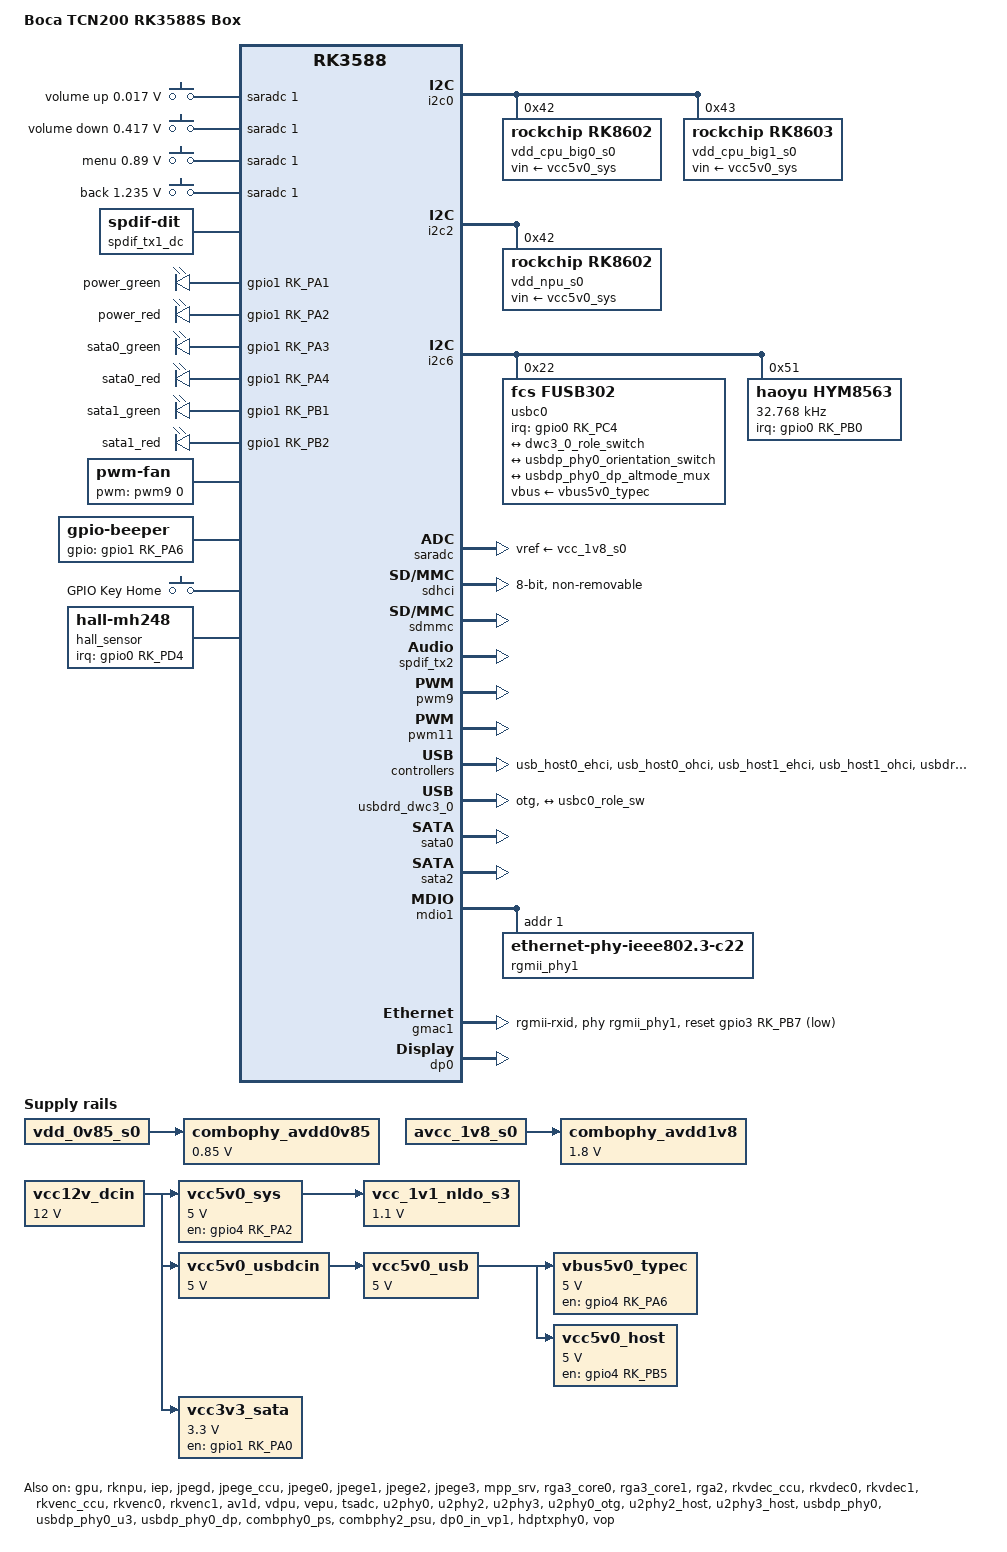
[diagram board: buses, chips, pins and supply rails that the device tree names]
// SPDX-License-Identifier: (GPL-2.0+ OR MIT)

/dts-v1/;

#include <dt-bindings/gpio/gpio.h>
#include <dt-bindings/input/input.h>
#include <dt-bindings/interrupt-controller/irq.h>
#include <dt-bindings/pinctrl/rockchip.h>
#include <dt-bindings/pwm/pwm.h>
#include "rk3588s.dtsi"
#include "rk3588-rk806-single.dtsi"
#include "rk3588-linux.dtsi"

/ {
	model = "Boca TCN200 RK3588S Box";
	compatible = "boca,tcn200", "tcn,tcn200", "rockchip,rk3588s", "rockchip,rk3588";

	aliases {
		/delete-property/ serial8;
		mmc0 = &sdhci;
		serial2 = &uart2;
	};

	chosen {
		/delete-property/ bootargs;
	};

	adc_keys: adc-keys {
		compatible = "adc-keys";
		io-channels = <&saradc 1>;
		io-channel-names = "buttons";
		keyup-threshold-microvolt = <1800000>;
		poll-interval = <100>;

		vol-up-key {
			label = "volume up";
			linux,code = <KEY_VOLUMEUP>;
			press-threshold-microvolt = <17000>;
		};

		vol-down-key {
			label = "volume down";
			linux,code = <KEY_VOLUMEDOWN>;
			press-threshold-microvolt = <417000>;
		};

		menu-key {
			label = "menu";
			linux,code = <KEY_MENU>;
			press-threshold-microvolt = <890000>;
		};

		back-key {
			label = "back";
			linux,code = <KEY_BACK>;
			press-threshold-microvolt = <1235000>;
		};
	};

	dp0_sound: dp0-sound {
		status = "okay";
		compatible = "rockchip,hdmi";
		rockchip,card-name = "rockchip,dp0";
		rockchip,mclk-fs = <512>;
		rockchip,cpu = <&spdif_tx2>;
		rockchip,codec = <&dp0 1>;
		rockchip,jack-det;
	};

	hdmi0_sound: hdmi0-sound {
		status = "disabled";
		compatible = "rockchip,hdmi";
		rockchip,mclk-fs = <128>;
		rockchip,card-name = "rockchip-hdmi0";
		rockchip,cpu = <&i2s5_8ch>;
		rockchip,codec = <&hdmi0>;
		rockchip,jack-det;
	};

	spdif_tx1_dc: spdif-tx1-dc {
		status = "okay";
		compatible = "linux,spdif-dit";
		#sound-dai-cells = <0>;
	};

	spdif_tx1_sound: spdif-tx1-sound {
		status = "disabled";
		compatible = "simple-audio-card";
		simple-audio-card,name = "rockchip,spdif-tx1";
		simple-audio-card,mclk-fs = <128>;
		simple-audio-card,cpu {
			sound-dai = <&spdif_tx1>;
		};
		simple-audio-card,codec {
			sound-dai = <&spdif_tx1_dc>;
		};
	};

	test-power {
		status = "okay";
	};

	vcc12v_dcin: vcc12v-dcin {
		compatible = "regulator-fixed";
		regulator-name = "vcc12v_dcin";
		regulator-always-on;
		regulator-boot-on;
		regulator-min-microvolt = <12000000>;
		regulator-max-microvolt = <12000000>;
	};

	vcc5v0_sys: vcc5v0-sys {
		compatible = "regulator-fixed";
		regulator-name = "vcc5v0_sys";
		regulator-always-on;
		regulator-boot-on;
		enable-active-high;
		gpio = <&gpio4 RK_PA2 GPIO_ACTIVE_HIGH>;
		regulator-min-microvolt = <5000000>;
		regulator-max-microvolt = <5000000>;
		vin-supply = <&vcc12v_dcin>;
	};

	vcc5v0_usbdcin: vcc5v0-usbdcin {
		compatible = "regulator-fixed";
		regulator-name = "vcc5v0_usbdcin";
		regulator-always-on;
		regulator-boot-on;
		regulator-min-microvolt = <5000000>;
		regulator-max-microvolt = <5000000>;
		vin-supply = <&vcc12v_dcin>;
	};

	vcc5v0_usb: vcc5v0-usb {
		compatible = "regulator-fixed";
		regulator-name = "vcc5v0_usb";
		regulator-always-on;
		regulator-boot-on;
		regulator-min-microvolt = <5000000>;
		regulator-max-microvolt = <5000000>;
		vin-supply = <&vcc5v0_usbdcin>;
	};

	vcc_1v1_nldo_s3: vcc-1v1-nldo-s3 {
		compatible = "regulator-fixed";
		regulator-name = "vcc_1v1_nldo_s3";
		regulator-always-on;
		regulator-boot-on;
		regulator-min-microvolt = <1100000>;
		regulator-max-microvolt = <1100000>;
		vin-supply = <&vcc5v0_sys>;
	};

	combophy_avdd0v85: combophy-avdd0v85 {
		compatible = "regulator-fixed";
		regulator-name = "combophy_avdd0v85";
		regulator-boot-on;
		regulator-always-on;
		regulator-min-microvolt = <850000>;
		regulator-max-microvolt = <850000>;
		vin-supply = <&vdd_0v85_s0>;
	};

	combophy_avdd1v8: combophy-avdd1v8 {
		compatible = "regulator-fixed";
		regulator-name = "combophy_avdd1v8";
		regulator-boot-on;
		regulator-always-on;
		regulator-min-microvolt = <1800000>;
		regulator-max-microvolt = <1800000>;
		vin-supply = <&avcc_1v8_s0>;
	};

	es7202_sound_micarray: es7202-sound-micarray {
		status = "disabled";
		compatible = "simple-audio-card";
		simple-audio-card,format = "i2s";
		simple-audio-card,name = "rockchip,sound-micarray";
		simple-audio-card,mclk-fs = <256>;
		simple-audio-card,dai-link@0 {
			format = "pdm";
			cpu {
				sound-dai = <&pdm0>;
			};
			codec {
				sound-dai = <&es7202>;
			};
		};
	};

	es8388_sound: es8388-sound {
		status = "disabled";
		compatible = "rockchip,multicodecs-card";
		rockchip,card-name = "rockchip-es8388";
		hp-det-gpio = <&gpio1 RK_PD0 GPIO_ACTIVE_LOW>;
		io-channels = <&saradc 3>;
		io-channel-names = "adc-detect";
		keyup-threshold-microvolt = <1800000>;
		poll-interval = <100>;
		spk-con-gpio = <&gpio4 RK_PA5 GPIO_ACTIVE_HIGH>;
		hp-con-gpio = <&gpio4 RK_PA4 GPIO_ACTIVE_HIGH>;
		rockchip,format = "i2s";
		rockchip,mclk-fs = <256>;
		rockchip,cpu = <&i2s0_8ch>;
		rockchip,codec = <&es8388>;
		rockchip,audio-routing =
			"Headphone", "LOUT1",
			"Headphone", "ROUT1",
			"Speaker", "LOUT2",
			"Speaker", "ROUT2",
			"Headphone", "Headphone Power",
			"Headphone", "Headphone Power",
			"Speaker", "Speaker Power",
			"Speaker", "Speaker Power",
			"LINPUT1", "Main Mic",
			"LINPUT2", "Main Mic",
			"RINPUT1", "Headset Mic",
			"RINPUT2", "Headset Mic";
		pinctrl-names = "default";
		pinctrl-0 = <&hp_det>;

		play-pause-key {
			label = "playpause";
			linux,code = <KEY_PLAYPAUSE>;
			press-threshold-microvolt = <2000>;
		};
	};

	leds: leds {
		compatible = "gpio-leds";

		power_green {
			gpios = <&gpio1 RK_PA1 GPIO_ACTIVE_HIGH>;
			default-state = "on";
		};

		power_red {
			gpios = <&gpio1 RK_PA2 GPIO_ACTIVE_HIGH>;
		};

		sata0_green {
			gpios = <&gpio1 RK_PA3 GPIO_ACTIVE_HIGH>;
		};

		sata0_red {
			gpios = <&gpio1 RK_PA4 GPIO_ACTIVE_HIGH>;
		};

		sata1_green {
			gpios = <&gpio1 RK_PB1 GPIO_ACTIVE_HIGH>;
		};

		sata1_red {
			gpios = <&gpio1 RK_PB2 GPIO_ACTIVE_HIGH>;
		};
	};

	fan: pwm-fan {
		compatible = "pwm-fan";
		#cooling-cells = <2>;
		cooling-levels = <0 90 160 200 255>;
		pwms = <&pwm9 0 50000 0>;
		rockchip,temp-trips = <
			50000 1
			60000 2
			70000 3
			80000 4
		>;
	};

	beep: beep {
		compatible = "gpio-beeper";
		gpios = <&gpio1 RK_PA6 GPIO_ACTIVE_HIGH>;
	};

	gpio_keys: gpio-keys {
		status = "okay";
		compatible = "gpio-keys";

		back {
			label = "GPIO Key Home";
			debounce-interval = <10>;
			interrupt-parent = <&gpio1>;
			interrupts = <RK_PB0 IRQ_TYPE_LEVEL_LOW>;
			linux,input-type = <1>;
			linux,code = <KEY_BACK>;
		};
	};

	hall_sensor: hall-mh248 {
		compatible = "hall-mh248";
		pinctrl-names = "default";
		pinctrl-0 = <&mh248_irq_gpio>;
		irq-gpio = <&gpio0 RK_PD4 IRQ_TYPE_EDGE_BOTH>;
		hall-active = <1>;
		status = "okay";
	};

	vbus5v0_typec: vbus5v0-typec {
		compatible = "regulator-fixed";
		regulator-name = "vbus5v0_typec";
		regulator-min-microvolt = <5000000>;
		regulator-max-microvolt = <5000000>;
		enable-active-high;
		gpio = <&gpio4 RK_PA6 GPIO_ACTIVE_HIGH>;
		vin-supply = <&vcc5v0_usb>;
		pinctrl-names = "default";
		pinctrl-0 = <&typec5v_pwren>;
	};

	vcc3v3_sata: vcc3v3-sata {
		compatible = "regulator-fixed";
		regulator-name = "vcc3v3_sata";
		regulator-min-microvolt = <3300000>;
		regulator-max-microvolt = <3300000>;
		enable-active-high;
		gpio = <&gpio1 RK_PA0 GPIO_ACTIVE_HIGH>;
		startup-delay-us = <5000>;
		vin-supply = <&vcc12v_dcin>;
	};

	vcc5v0_host: vcc5v0-host {
		compatible = "regulator-fixed";
		regulator-name = "vcc5v0_host";
		regulator-boot-on;
		regulator-always-on;
		regulator-min-microvolt = <5000000>;
		regulator-max-microvolt = <5000000>;
		enable-active-high;
		gpio = <&gpio4 RK_PB5 GPIO_ACTIVE_HIGH>;
		vin-supply = <&vcc5v0_usb>;
		pinctrl-names = "default";
		pinctrl-0 = <&vcc5v0_host_en>;
	};

	wireless_bluetooth: wireless-bluetooth {
		status = "disabled";
	};

	wireless_wlan: wireless-wlan {
		compatible = "wlan-platdata";
		wifi_chip_type = "ap6275p";
		pinctrl-names = "default";
		pinctrl-0 = <&wifi_host_wake_irq &wifi_poweren_gpio>;
		WIFI,host_wake_irq = <&gpio0 RK_PA0 GPIO_ACTIVE_HIGH>;
		WIFI,poweren_gpio = <&gpio0 RK_PC7 GPIO_ACTIVE_HIGH>;
		status = "disabled";
	};
};

&rk806single {
	pinctrl-names = "default", "pmic-power-off";
	pinctrl-0 = <&pmic_pins &rk806_dvs1_null &rk806_dvs2_null &rk806_dvs3_null>;
	pinctrl-1 = <&rk806_dvs1_pwrdn &rk806_dvs2_pwrdn &rk806_dvs3_pwrdn>;

	regulators {
		DCDC_REG3 {
			regulator-max-microvolt = <750000>;
			regulator-state-mem {
				/delete-property/ regulator-off-in-suspend;
				regulator-on-in-suspend;
				regulator-suspend-microvolt = <750000>;
			};
		};

		DCDC_REG9 {
			regulator-state-mem {
				/delete-property/ regulator-off-in-suspend;
				regulator-on-in-suspend;
			};
		};

		PLDO_REG1 {
			regulator-state-mem {
				/delete-property/ regulator-off-in-suspend;
				regulator-on-in-suspend;
			};
		};

		PLDO_REG4 {
			regulator-state-mem {
				/delete-property/ regulator-off-in-suspend;
				regulator-on-in-suspend;
			};
		};

		NLDO_REG3 {
			regulator-min-microvolt = <750000>;
			regulator-max-microvolt = <750000>;
			regulator-state-mem {
				/delete-property/ regulator-off-in-suspend;
				regulator-on-in-suspend;
			};
		};
	};
};

&i2c0 {
	status = "okay";
	pinctrl-names = "default";
	pinctrl-0 = <&i2c0m2_xfer>;
	/delete-property/ resets;
	/delete-property/ reset-names;

	vdd_cpu_big0_s0: vdd_cpu_big0_mem_s0: rk8602@42 {
		compatible = "rockchip,rk8602";
		reg = <0x42>;
		vin-supply = <&vcc5v0_sys>;
		regulator-compatible = "rk860x-reg";
		regulator-name = "vdd_cpu_big0_s0";
		regulator-min-microvolt = <550000>;
		regulator-max-microvolt = <1050000>;
		regulator-ramp-delay = <2300>;
		rockchip,suspend-voltage-selector = <1>;
		regulator-boot-on;
		regulator-always-on;
		regulator-state-mem {
			regulator-off-in-suspend;
		};
	};

	vdd_cpu_big1_s0: vdd_cpu_big1_mem_s0: rk8603@43 {
		compatible = "rockchip,rk8603";
		reg = <0x43>;
		vin-supply = <&vcc5v0_sys>;
		regulator-compatible = "rk860x-reg";
		regulator-name = "vdd_cpu_big1_s0";
		regulator-min-microvolt = <550000>;
		regulator-max-microvolt = <1050000>;
		regulator-ramp-delay = <2300>;
		rockchip,suspend-voltage-selector = <1>;
		regulator-boot-on;
		regulator-always-on;
		regulator-state-mem {
			regulator-off-in-suspend;
		};
	};
};

&i2c1 {
	/delete-property/ resets;
	/delete-property/ reset-names;
};

&i2c2 {
	status = "okay";
	pinctrl-names = "default";
	pinctrl-0 = <&i2c2m0_xfer>;
	/delete-property/ resets;
	/delete-property/ reset-names;

	vdd_npu_s0: vdd_npu_mem_s0: rk8602@42 {
		compatible = "rockchip,rk8602";
		reg = <0x42>;
		vin-supply = <&vcc5v0_sys>;
		regulator-compatible = "rk860x-reg";
		regulator-name = "vdd_npu_s0";
		regulator-min-microvolt = <550000>;
		regulator-max-microvolt = <950000>;
		regulator-ramp-delay = <2300>;
		rockchip,suspend-voltage-selector = <1>;
		regulator-boot-on;
		regulator-always-on;
		regulator-state-mem {
			regulator-off-in-suspend;
		};
	};
};

&i2c3 {
	status = "disabled";
	pinctrl-names = "default";
	pinctrl-0 = <&i2c3m0_xfer>;
	/delete-property/ resets;
	/delete-property/ reset-names;

	es8388: es8388@11 {
		status = "disabled";
		#sound-dai-cells = <0>;
		compatible = "everest,es8388", "everest,es8323";
		reg = <0x11>;
		clocks = <&mclkout_i2s0>;
		clock-names = "mclk";
		assigned-clocks = <&mclkout_i2s0>;
		assigned-clock-rates = <12288000>;
		pinctrl-names = "default";
		pinctrl-0 = <&i2s0_mclk>;
	};

	es7202: es7202@32 {
		status = "disabled";
		#sound-dai-cells = <0>;
		compatible = "ES7202_PDM_ADC_1";
		power-supply = <&vcc_1v8_s0>;
		reg = <0x32>;
	};
};

&i2c4 {
	/delete-property/ resets;
	/delete-property/ reset-names;
};

&i2c5 {
	/delete-property/ resets;
	/delete-property/ reset-names;
};

&i2c6 {
	status = "okay";
	pinctrl-names = "default";
	pinctrl-0 = <&i2c6m3_xfer>;

	usbc0: fusb302@22 {
		compatible = "fcs,fusb302";
		reg = <0x22>;
		interrupt-parent = <&gpio0>;
		interrupts = <RK_PC4 IRQ_TYPE_LEVEL_LOW>;
		pinctrl-names = "default";
		pinctrl-0 = <&usbc0_int>;
		vbus-supply = <&vbus5v0_typec>;
		status = "okay";

		ports {
			#address-cells = <1>;
			#size-cells = <0>;

			port@0 {
				reg = <0>;
				usbc0_role_sw: endpoint@0 {
					remote-endpoint = <&dwc3_0_role_switch>;
				};
			};
		};

		usb_con: connector {
			compatible = "usb-c-connector";
			label = "USB-C";
			data-role = "dual";
			power-role = "dual";
			try-power-role = "source";
			op-sink-microwatt = <1000000>;
			sink-pdos = <0x4019064>;
			source-pdos = <0x401912c>;

			altmodes {
				#address-cells = <1>;
				#size-cells = <0>;

				altmode@0 {
					reg = <0>;
					svid = <0xff01>;
					vdo = <0xffffffff>;
				};
			};

			ports {
				#address-cells = <1>;
				#size-cells = <0>;

				port@0 {
					reg = <0>;
					usbc0_orien_sw: endpoint {
						remote-endpoint = <&usbdp_phy0_orientation_switch>;
					};
				};

				port@1 {
					reg = <1>;
					dp_altmode_mux: endpoint {
						remote-endpoint = <&usbdp_phy0_dp_altmode_mux>;
					};
				};
			};
		};
	};

	hym8563: hym8563@51 {
		compatible = "haoyu,hym8563";
		reg = <0x51>;
		#clock-cells = <0>;
		clock-frequency = <32768>;
		clock-output-names = "hym8563";
		pinctrl-names = "default";
		pinctrl-0 = <&hym8563_int>;
		interrupt-parent = <&gpio0>;
		interrupts = <RK_PB0 IRQ_TYPE_LEVEL_LOW>;
		wakeup-source;
	};
};

&cpu_l0 {
	cpu-supply = <&vdd_cpu_lit_s0>;
	mem-supply = <&vdd_cpu_lit_mem_s0>;
};

&cpu_b0 {
	cpu-supply = <&vdd_cpu_big0_s0>;
	mem-supply = <&vdd_cpu_big0_mem_s0>;
};

&cpu_b2 {
	cpu-supply = <&vdd_cpu_big1_s0>;
	mem-supply = <&vdd_cpu_big1_mem_s0>;
};

&gpu {
	mali-supply = <&vdd_gpu_s0>;
	mem-supply = <&vdd_gpu_mem_s0>;
	status = "okay";
};

&rknpu {
	rknpu-supply = <&vdd_npu_s0>;
	mem-supply = <&vdd_npu_mem_s0>;
	status = "okay";
};

&dfi {
	status = "disabled";
};

&dmc {
	status = "disabled";
};

&rknpu_mmu {
	status = "okay";
};

&iep {
	status = "okay";
};

&iep_mmu {
	status = "okay";
};

&jpegd {
	status = "okay";
};

&jpegd_mmu {
	status = "okay";
};

&jpege_ccu {
	status = "okay";
};

&jpege0 {
	status = "okay";
};

&jpege0_mmu {
	status = "okay";
};

&jpege1 {
	status = "okay";
};

&jpege1_mmu {
	status = "okay";
};

&jpege2 {
	status = "okay";
};

&jpege2_mmu {
	status = "okay";
};

&jpege3 {
	status = "okay";
};

&jpege3_mmu {
	status = "okay";
};

&mpp_srv {
	status = "okay";
};

&rga3_core0 {
	status = "okay";
};

&rga3_0_mmu {
	status = "okay";
};

&rga3_core1 {
	status = "okay";
};

&rga3_1_mmu {
	status = "okay";
};

&rga2 {
	status = "okay";
};

&rkvdec_ccu {
	status = "okay";
};

&rkvdec0 {
	status = "okay";
};

&rkvdec0_mmu {
	status = "okay";
};

&rkvdec1 {
	status = "okay";
};

&rkvdec1_mmu {
	status = "okay";
};

&rkvenc_ccu {
	status = "okay";
};

&rkvenc0 {
	venc-supply = <&vdd_vdenc_s0>;
	mem-supply = <&vdd_vdenc_mem_s0>;
	status = "okay";
};

&rkvenc0_mmu {
	status = "okay";
};

&rkvenc1 {
	venc-supply = <&vdd_vdenc_s0>;
	mem-supply = <&vdd_vdenc_mem_s0>;
	status = "okay";
};

&rkvenc1_mmu {
	status = "okay";
};

&av1d {
	status = "okay";
};

&av1d_mmu {
	status = "okay";
};

&avsd {
	status = "disabled";
};

&vdpu {
	status = "okay";
};

&vdpu_mmu {
	status = "okay";
};

&vepu {
	status = "okay";
};

&saradc {
	status = "okay";
	vref-supply = <&vcc_1v8_s0>;
};

&tsadc {
	status = "okay";
};

&sdhci {
	bus-width = <8>;
	no-sdio;
	no-sd;
	non-removable;
	mmc-hs400-1_8v;
	mmc-hs400-enhanced-strobe;
	max-frequency = <200000000>;
	status = "okay";
};

&sdmmc {
	status = "okay";
};

&i2s0_8ch {
	status = "disabled";
};

&pdm0 {
	status = "disabled";
};

&spdif_tx1 {
	status = "disabled";
	pinctrl-names = "default";
	pinctrl-0 = <&spdif1m1_tx>;
};

&spdif_tx2 {
	status = "okay";
};

&uart8 {
	status = "disabled";
};

&pwm9 {
	status = "okay";
	pinctrl-names = "active";
	pinctrl-0 = <&pwm9m2_pins>;
};

&pwm11 {
	status = "okay";
	pinctrl-names = "active";
	pinctrl-0 = <&pwm11m1_pins>;
};

&u2phy0 {
	status = "okay";
};

&u2phy2 {
	status = "okay";
};

&u2phy3 {
	status = "okay";
};

&u2phy0_otg {
	status = "okay";
	rockchip,typec-vbus-det;
};

&u2phy2_host {
	status = "okay";
	phy-supply = <&vcc5v0_host>;
};

&u2phy3_host {
	status = "okay";
	phy-supply = <&vcc5v0_host>;
};

&usb_host0_ehci {
	status = "okay";
};

&usb_host0_ohci {
	status = "okay";
};

&usb_host1_ehci {
	status = "okay";
};

&usb_host1_ohci {
	status = "okay";
};

&usbdrd3_0 {
	status = "okay";
};

&usbdrd_dwc3_0 {
	dr_mode = "otg";
	status = "okay";
	usb-role-switch;

	port {
		#address-cells = <1>;
		#size-cells = <0>;

		dwc3_0_role_switch: endpoint@0 {
			reg = <0>;
			remote-endpoint = <&usbc0_role_sw>;
		};
	};
};

&usbdp_phy0 {
	status = "okay";
	orientation-switch;
	svid = <0xff01>;
	sbu1-dc-gpios = <&gpio4 RK_PA0 GPIO_ACTIVE_HIGH>;
	sbu2-dc-gpios = <&gpio4 RK_PA1 GPIO_ACTIVE_HIGH>;

	port {
		#address-cells = <1>;
		#size-cells = <0>;

		usbdp_phy0_orientation_switch: endpoint@0 {
			reg = <0>;
			remote-endpoint = <&usbc0_orien_sw>;
		};

		usbdp_phy0_dp_altmode_mux: endpoint@1 {
			reg = <1>;
			remote-endpoint = <&dp_altmode_mux>;
		};
	};
};

&usbdp_phy0_u3 {
	status = "okay";
};

&usbdp_phy0_dp {
	status = "okay";
};

&combphy0_ps {
	status = "okay";
};

&combphy2_psu {
	status = "okay";
};

&sata0 {
	target-supply = <&vcc3v3_sata>;
	status = "okay";
};

&sata2 {
	target-supply = <&vcc3v3_sata>;
	status = "okay";
};

&mdio1 {
	rgmii_phy1: phy@1 {
		compatible = "ethernet-phy-ieee802.3-c22";
		reg = <0x1>;
	};
};

&gmac1 {
	status = "okay";
	phy-mode = "rgmii-rxid";
	clock_in_out = "output";
	snps,reset-gpio = <&gpio3 RK_PB7 GPIO_ACTIVE_LOW>;
	snps,reset-active-low;
	snps,reset-delays-us = <0 20000 100000>;
	pinctrl-names = "default";
	pinctrl-0 = <&gmac1_miim
			     &gmac1_tx_bus2
			     &gmac1_rx_bus2
			     &gmac1_rgmii_clk
			     &gmac1_rgmii_bus>;
	tx_delay = <0x43>;
	phy-handle = <&rgmii_phy1>;
};

&gmac1_mtl_rx_setup {
	snps,rx-queues-to-use = <2>;

	queue1 {
	};
};

&gmac1_mtl_tx_setup {
	snps,tx-queues-to-use = <2>;

	queue1 {
	};
};

&dp0 {
	status = "okay";
};

&dp0_in_vp1 {
	status = "okay";
};

&hdptxphy0 {
	training-table = /bits/ 8 <
		0x0d 0x00 0x00 0x00 0x00 0x00
		0x0d 0x00 0x00 0x00 0x00 0x00
		0x0d 0x00 0x00 0x00 0x00 0x00
		0x0d 0x00 0x00 0x00 0x00 0x00
		0x0d 0x00 0x00 0x00 0x00 0x00
		0x0d 0x00 0x00 0x00 0x00 0x00
		0x0d 0x00 0x00 0x00 0x00 0x00
		0x0d 0x00 0x00 0x00 0x00 0x00
		0x0d 0x00 0x00 0x00 0x00 0x00
		0x0d 0x00 0x00 0x00 0x00 0x00
	>;
	status = "okay";
};

&vop {
	status = "okay";
};

&vop_mmu {
	status = "okay";
};

&rockchip_suspend {
	compatible = "rockchip,pm-rk3588";
	status = "okay";
	rockchip,sleep-debug-en = <1>;
	rockchip,sleep-mode-config = <
		(0
		| RKPM_SLP_ARMOFF_DDRPD
		)
	>;
	rockchip,wakeup-config = <
		(0
		| RKPM_CPU0_WKUP_EN
		| RKPM_GPIO_WKUP_EN
		| RKPM_USB_WKUP_EN
		)
	>;
	rockchip,virtual-poweroff = <1>;
	/delete-property/ power-domains;
};

&pinctrl {
	headphone {
		hp_det: hp-det {
			rockchip,pins = <1 RK_PD0 RK_FUNC_GPIO &pcfg_pull_none>;
		};
	};

	hym8563 {
		hym8563_int: hym8563-int {
			rockchip,pins = <0 RK_PB0 RK_FUNC_GPIO &pcfg_pull_up>;
		};
	};

	sensor {
		mh248_irq_gpio: mh248-irq-gpio {
			rockchip,pins = <0 RK_PD4 RK_FUNC_GPIO &pcfg_pull_up>;
		};
	};

	usb {
		vcc5v0_host_en: vcc5v0-host-en {
			rockchip,pins = <4 RK_PB5 RK_FUNC_GPIO &pcfg_pull_none>;
		};
	};

	usb-typec {
		usbc0_int: usbc0-int {
			rockchip,pins = <0 RK_PC4 RK_FUNC_GPIO &pcfg_pull_up>;
		};

		typec5v_pwren: typec5v-pwren {
			rockchip,pins = <4 RK_PA6 RK_FUNC_GPIO &pcfg_pull_none>;
		};
	};

	wireless-bluetooth {
		uart8_gpios: uart8-gpios {
			rockchip,pins = <3 RK_PA4 RK_FUNC_GPIO &pcfg_pull_none>;
		};

		bt_gpio: bt-gpio {
			rockchip,pins =
				<3 RK_PB7 RK_FUNC_GPIO &pcfg_pull_none>,
				<3 RK_PC1 RK_FUNC_GPIO &pcfg_pull_up>,
				<3 RK_PC0 RK_FUNC_GPIO &pcfg_pull_down>;
		};
	};

	wireless-wlan {
		wifi_host_wake_irq: wifi-host-wake-irq {
			rockchip,pins = <0 RK_PA0 RK_FUNC_GPIO &pcfg_pull_down>;
		};

		wifi_poweren_gpio: wifi-poweren-gpio {
			rockchip,pins = <0 RK_PC7 RK_FUNC_GPIO &pcfg_pull_up>;
		};
	};
};
